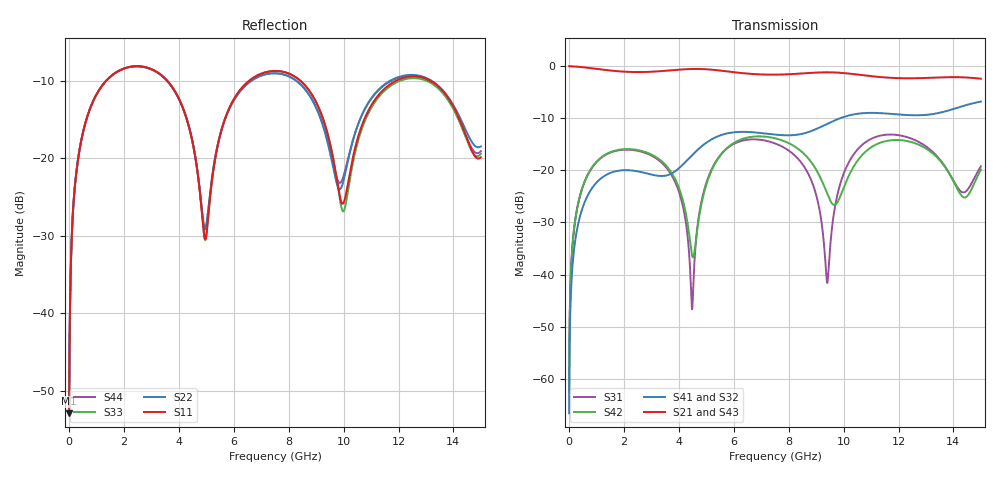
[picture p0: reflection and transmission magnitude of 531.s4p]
! Created with skrf 1.8.0 (http://scikit-rf.org).
# GHz S RI R 50.0
!freq ReS11 ImS11 ReS12 ImS12 ReS13 ImS13
! ReS14 ImS14
! ReS21 ImS21 ReS22 ImS22 ReS23 ImS23
! ReS24 ImS24
! ReS31 ImS31 ReS32 ImS32 ReS33 ImS33
! ReS34 ImS34
! ReS41 ImS41 ReS42 ImS42 ReS43 ImS43
! ReS44 ImS44
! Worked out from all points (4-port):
!   2499 points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, 5 MHz to 15 GHz, reference 50 ohm
!   strongest paths, dB at 5 MHz, 3.476 GHz, 7.19 GHz, 11.1 GHz, 15 GHz:
!     S21: 0.0, -0.9, -1.6, -2.0, -2.4
!     S43: 0.0, -0.9, -1.6, -2.0, -2.4
!     S41: -66.6, -21.1, -13.0, -9.0, -6.8
!     S32: -66.6, -21.1, -13.0, -8.9, -6.8
!     S42: -62.6, -18.8, -13.6, -15.3, -19.8
!     S31: -62.6, -19.1, -14.3, -13.7, -19.2
!   lowest |S11| = -52.9 dB at 5 MHz (marker M1), VSWR 1.00, Z = 50.2 + j0.138 ohm
!   |S11| at or under -10 dB: 3.578 GHz to 6.563 GHz (2.985 GHz wide, 58.9 % of centre); 8.424 GHz to 11.91 GHz (3.487 GHz wide, 34.3 % of centre); 13.16 GHz to end of sweep (the widest 3 of 4)
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0.005  0.00181 0.00137  0.9982 -0.00352  9.19e-05 0.000735  -8.92e-05 -0.000458
       0.9982 -0.00352  0.00181 0.00137  -8.92e-05 -0.000458  9.2e-05 0.000735
       9.19e-05 0.000735  -8.92e-05 -0.000458  0.00181 0.00137  0.9982 -0.00352
       -8.92e-05 -0.000458  9.2e-05 0.000735  0.9982 -0.00352  0.00181 0.00137
1.469362  0.2838 0.1712  0.5196 -0.7455  0.1334 0.0612  -0.0935 -0.0012
          0.5196 -0.7455  0.2825 0.1722  -0.0935 -0.0012  0.1368 0.0562
          0.1334 0.0612  -0.0935 -0.0012  0.2838 0.1713  0.5196 -0.7455
          -0.0935 -0.0012  0.1368 0.0562  0.5196 -0.7455  0.2825 0.1722
4.483118  0.0631 -0.1157  -0.8679 -0.3563  -0.00452 -0.00108  -0.0489 0.131
          -0.8679 -0.3563  0.0673 -0.1122  -0.0489 0.131  -0.0138 -0.00671
          -0.00452 -0.00108  -0.0489 0.131  0.0628 -0.116  -0.8678 -0.3564
          -0.0489 0.131  -0.0138 -0.00671  -0.8678 -0.3564  0.0677 -0.1122
7.571905  0.3646 -0.0243  -0.0615 0.8256  0.1712 -0.0496  0.2112 -0.0589
          -0.0615 0.8256  0.3524 -0.0144  0.2111 -0.0591  0.1751 -0.0984
          0.1712 -0.0496  0.2111 -0.0591  0.3646 -0.0248  -0.0616 0.8256
          0.2112 -0.0589  0.1751 -0.0984  -0.0616 0.8256  0.3526 -0.0139
9.403918  0.0885 -0.1165  0.7566 0.4325  0.00827 0.000834  0.1304 -0.2469
          0.7566 0.4325  0.093 -0.0898  0.1308 -0.2466  -0.0455 -0.0388
          0.00827 0.000834  0.1308 -0.2466  0.0855 -0.1205  0.7559 0.4331
          0.1304 -0.2469  -0.0455 -0.0388  0.7559 0.4331  0.0981 -0.0897
10.82326  0.1451 0.1228  0.7467 -0.3147  0.1623 0.0949  -0.1776 -0.3074
          0.7467 -0.3147  0.1685 0.1352  -0.1777 -0.3087  0.115 0.1008
          0.1623 0.0949  -0.1777 -0.3087  0.1353 0.122  0.7483 -0.3136
          -0.1776 -0.3074  0.115 0.1008  0.7483 -0.3136  0.1732 0.1273
15  0.1013 0.00729  -0.7397 -0.1585  -0.0121 0.1086  -0.0821 0.4486
    -0.7397 -0.1585  0.1193 0.00448  -0.0805 0.448  -9.45e-05 0.1018
    -0.0121 0.1086  -0.0805 0.448  0.1058 0.0162  -0.7405 -0.156
    -0.0821 0.4486  -9.45e-05 0.1018  -0.7405 -0.156  0.1107 0.00964
